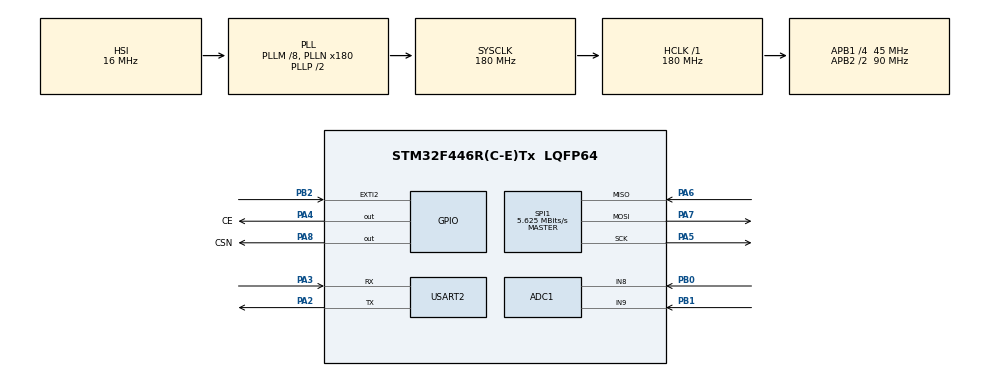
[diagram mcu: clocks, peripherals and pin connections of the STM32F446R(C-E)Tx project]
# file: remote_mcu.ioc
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ADC1.Channel-0\#ChannelRegularConversion=ADC_CHANNEL_8
ADC1.Channel-1\#ChannelRegularConversion=ADC_CHANNEL_9
ADC1.ContinuousConvMode=ENABLE
ADC1.DMAContinuousRequests=ENABLE
ADC1.NbrOfConversion=2
ADC1.NbrOfConversionFlag=1
ADC1.Rank-0\#ChannelRegularConversion=1
ADC1.Rank-1\#ChannelRegularConversion=2
ADC1.SamplingTime-0\#ChannelRegularConversion=ADC_SAMPLETIME_3CYCLES
ADC1.SamplingTime-1\#ChannelRegularConversion=ADC_SAMPLETIME_3CYCLES
ADC1.ScanConvMode=ENABLE
ADC1.master=1
Dma.ADC1.0.Direction=DMA_PERIPH_TO_MEMORY
Dma.ADC1.0.FIFOMode=DMA_FIFOMODE_DISABLE
Dma.ADC1.0.Instance=DMA2_Stream0
Dma.ADC1.0.MemDataAlignment=DMA_MDATAALIGN_WORD
Dma.ADC1.0.MemInc=DMA_MINC_ENABLE
Dma.ADC1.0.Mode=DMA_NORMAL
Dma.ADC1.0.PeriphDataAlignment=DMA_PDATAALIGN_WORD
Dma.ADC1.0.PeriphInc=DMA_PINC_DISABLE
Dma.ADC1.0.Priority=DMA_PRIORITY_LOW
Dma.Request0=ADC1
Mcu.Family=STM32F4
Mcu.Name=STM32F446R(C-E)Tx
Mcu.Package=LQFP64
NVIC.DMA2_Stream0_IRQn=true\:0\:0\:false\:false\:true\:false\:true\:true
NVIC.EXTI2_IRQn=true\:0\:0\:false\:false\:true\:true\:true\:true
NVIC.PriorityGroup=NVIC_PRIORITYGROUP_4
NVIC.SPI1_IRQn=true\:0\:0\:false\:false\:true\:true\:true\:true
PA13.Mode=Serial_Wire
PA13.Signal=SYS_JTMS-SWDIO
PA14.Mode=Serial_Wire
PA14.Signal=SYS_JTCK-SWCLK
PA2.Mode=Asynchronous
PA2.Signal=USART2_TX
PA3.Mode=Asynchronous
PA3.Signal=USART2_RX
PA4.GPIO_Label=CE
PA4.GPIO_Speed=GPIO_SPEED_FREQ_HIGH
PA4.Signal=GPIO_Output
PA5.Mode=Full_Duplex_Master
PA5.Signal=SPI1_SCK
PA6.Mode=Full_Duplex_Master
PA6.Signal=SPI1_MISO
PA7.Mode=Full_Duplex_Master
PA7.Signal=SPI1_MOSI
PA8.GPIO_Label=CSN
PA8.GPIO_Speed=GPIO_SPEED_FREQ_HIGH
PA8.Signal=GPIO_Output
PB0.Signal=ADCx_IN8
PB1.Signal=ADCx_IN9
PB2.GPIO_ModeDefaultEXTI=GPIO_MODE_IT_FALLING
PB2.Signal=GPXTI2
ProjectManager.HeapSize=0x200
ProjectManager.StackSize=0x400
ProjectManager.TargetToolchain=STM32CubeIDE
RCC.AHBFreq_Value=180000000
RCC.APB1CLKDivider=RCC_HCLK_DIV4
RCC.APB1Freq_Value=45000000
RCC.APB1TimFreq_Value=90000000
RCC.APB2CLKDivider=RCC_HCLK_DIV2
RCC.APB2Freq_Value=90000000
RCC.APB2TimFreq_Value=180000000
RCC.CortexFreq_Value=180000000
RCC.HCLKFreq_Value=180000000
RCC.PLLM=8
RCC.PLLN=180
RCC.SYSCLKFreq_VALUE=180000000
RCC.SYSCLKSource=RCC_SYSCLKSOURCE_PLLCLK
RCC.USBFreq_Value=180000000
RCC.VCOOutputFreq_Value=360000000
SH.ADCx_IN8.0=ADC1_IN8,IN8
SH.ADCx_IN9.0=ADC1_IN9,IN9
SPI1.BaudRatePrescaler=SPI_BAUDRATEPRESCALER_16
SPI1.CalculateBaudRate=5.625 MBits/s
SPI1.Direction=SPI_DIRECTION_2LINES
SPI1.Mode=SPI_MODE_MASTER
SPI1.VirtualType=VM_MASTER
USART2.VirtualMode=VM_ASYNC
board=custom

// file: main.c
/* USER CODE BEGIN Header */
/**
 ******************************************************************************
 * @file           : main.c
 * @brief          : Main program body
 ******************************************************************************
 * @attention
 *
 * Copyright (c) 2026 STMicroelectronics.
 * All rights reserved.
 *
 * This software is licensed under terms that can be found in the LICENSE file
 * in the root directory of this software component.
 * If no LICENSE file comes with this software, it is provided AS-IS.
 *
 ******************************************************************************
 */
/* USER CODE END Header */
#include "main.h"

/* USER CODE BEGIN Includes */
#include <stdio.h>
#include "string.h"
#include "NRF24L01.h"
/* USER CODE END Includes */

/* USER CODE BEGIN PD */
#define JOYSTICK_PORT GPIOB
#define JOYSTICK_PIN GPIO_PIN_2
/* USER CODE END PD */

ADC_HandleTypeDef hadc1;
DMA_HandleTypeDef hdma_adc1;

SPI_HandleTypeDef hspi1;

UART_HandleTypeDef huart2;

void SystemClock_Config(void);
static void MX_GPIO_Init(void);
static void MX_DMA_Init(void);
static void MX_SPI1_Init(void);
static void MX_ADC1_Init(void);
static void MX_USART2_UART_Init(void);

/* USER CODE BEGIN 0 */
volatile uint8_t AUTONOMOUS = 0;
typedef struct __attribute__((packed)) {
	uint8_t mode;
	uint16_t steering;
	uint16_t throttle;
	uint8_t reserved[27];
} ControlPacket;
uint32_t VR[2]; // array used to store VRx and VRy from 0 - 4095 (2^12)
uint8_t TxAddress[] = { 0xEE, 0xDD, 0xCC, 0xBB, 0xAA, };
/* USER CODE END 0 */

int main(void) {

	/* MCU Configuration--------------------------------------------------------*/

	/* Reset of all peripherals, Initializes the Flash interface and the Systick. */
	HAL_Init();

	/* Configure the system clock */
	SystemClock_Config();

	/* Initialize all configured peripherals */
	MX_GPIO_Init();
	MX_DMA_Init();
	MX_SPI1_Init();
	MX_ADC1_Init();
	MX_USART2_UART_Init();
	/* USER CODE BEGIN 2 */
	NRF24_Init();

	NRF24_TxMode(TxAddress, 10);
	ControlPacket packet;

	/* USER CODE END 2 */

	/* Infinite loop */
	while (1) {

		/* USER CODE BEGIN 3 */
		HAL_ADC_Start_DMA(&hadc1, VR, 2); // tells DMA to read from ADC1 IN8 and IN9 and store it in VR[0] and VR[1] (rank settings)

		if (AUTONOMOUS) {
			packet.mode = 1;
			packet.steering = 0;
			packet.throttle = 0;
		} else {
			packet.mode = 0;
			packet.steering = (uint16_t) VR[1];
			packet.throttle = (uint16_t) VR[0];
		}

		NRF24_Transmit((uint8_t*) &packet);

	}
	/* USER CODE END 3 */
}

void SystemClock_Config(void) {
	RCC_OscInitTypeDef RCC_OscInitStruct = { 0 };
	RCC_ClkInitTypeDef RCC_ClkInitStruct = { 0 };

	/** Configure the main internal regulator output voltage
	 */
	__HAL_RCC_PWR_CLK_ENABLE();
	__HAL_PWR_VOLTAGESCALING_CONFIG(PWR_REGULATOR_VOLTAGE_SCALE1);

	/** Initializes the RCC Oscillators according to the specified parameters
	 * in the RCC_OscInitTypeDef structure.
	 */
	RCC_OscInitStruct.OscillatorType = RCC_OSCILLATORTYPE_HSI;
	RCC_OscInitStruct.HSIState = RCC_HSI_ON;
	RCC_OscInitStruct.HSICalibrationValue = RCC_HSICALIBRATION_DEFAULT;
	RCC_OscInitStruct.PLL.PLLState = RCC_PLL_ON;
	RCC_OscInitStruct.PLL.PLLSource = RCC_PLLSOURCE_HSI;
	RCC_OscInitStruct.PLL.PLLM = 8;
	RCC_OscInitStruct.PLL.PLLN = 180;
	RCC_OscInitStruct.PLL.PLLP = RCC_PLLP_DIV2;
	RCC_OscInitStruct.PLL.PLLQ = 2;
	RCC_OscInitStruct.PLL.PLLR = 2;
	if (HAL_RCC_OscConfig(&RCC_OscInitStruct) != HAL_OK) {
		Error_Handler();
	}

	/** Activate the Over-Drive mode
	 */
	if (HAL_PWREx_EnableOverDrive() != HAL_OK) {
		Error_Handler();
	}

	/** Initializes the CPU, AHB and APB buses clocks
	 */
	RCC_ClkInitStruct.ClockType = RCC_CLOCKTYPE_HCLK | RCC_CLOCKTYPE_SYSCLK
			| RCC_CLOCKTYPE_PCLK1 | RCC_CLOCKTYPE_PCLK2;
	RCC_ClkInitStruct.SYSCLKSource = RCC_SYSCLKSOURCE_PLLCLK;
	RCC_ClkInitStruct.AHBCLKDivider = RCC_SYSCLK_DIV1;
	RCC_ClkInitStruct.APB1CLKDivider = RCC_HCLK_DIV4;
	RCC_ClkInitStruct.APB2CLKDivider = RCC_HCLK_DIV2;

	if (HAL_RCC_ClockConfig(&RCC_ClkInitStruct, FLASH_LATENCY_5) != HAL_OK) {
		Error_Handler();
	}
}

static void MX_ADC1_Init(void) {

	ADC_ChannelConfTypeDef sConfig = { 0 };

	/** Configure the global features of the ADC (Clock, Resolution, Data Alignment and number of conversion)
	 */
	hadc1.Instance = ADC1;
	hadc1.Init.ClockPrescaler = ADC_CLOCK_SYNC_PCLK_DIV4;
	hadc1.Init.Resolution = ADC_RESOLUTION_12B;
	hadc1.Init.ScanConvMode = ENABLE;
	hadc1.Init.ContinuousConvMode = ENABLE;
	hadc1.Init.DiscontinuousConvMode = DISABLE;
	hadc1.Init.ExternalTrigConvEdge = ADC_EXTERNALTRIGCONVEDGE_NONE;
	hadc1.Init.ExternalTrigConv = ADC_SOFTWARE_START;
	hadc1.Init.DataAlign = ADC_DATAALIGN_RIGHT;
	hadc1.Init.NbrOfConversion = 2;
	hadc1.Init.DMAContinuousRequests = ENABLE;
	hadc1.Init.EOCSelection = ADC_EOC_SINGLE_CONV;
	if (HAL_ADC_Init(&hadc1) != HAL_OK) {
		Error_Handler();
	}

	/** Configure for the selected ADC regular channel its corresponding rank in the sequencer and its sample time.
	 */
	sConfig.Channel = ADC_CHANNEL_8;
	sConfig.Rank = 1;
	sConfig.SamplingTime = ADC_SAMPLETIME_3CYCLES;
	if (HAL_ADC_ConfigChannel(&hadc1, &sConfig) != HAL_OK) {
		Error_Handler();
	}

	/** Configure for the selected ADC regular channel its corresponding rank in the sequencer and its sample time.
	 */
	sConfig.Channel = ADC_CHANNEL_9;
	sConfig.Rank = 2;
	if (HAL_ADC_ConfigChannel(&hadc1, &sConfig) != HAL_OK) {
		Error_Handler();
	}

}

static void MX_SPI1_Init(void) {

	/* SPI1 parameter configuration*/
	hspi1.Instance = SPI1;
	hspi1.Init.Mode = SPI_MODE_MASTER;
	hspi1.Init.Direction = SPI_DIRECTION_2LINES;
	hspi1.Init.DataSize = SPI_DATASIZE_8BIT;
	hspi1.Init.CLKPolarity = SPI_POLARITY_LOW;
	hspi1.Init.CLKPhase = SPI_PHASE_1EDGE;
	hspi1.Init.NSS = SPI_NSS_SOFT;
	hspi1.Init.BaudRatePrescaler = SPI_BAUDRATEPRESCALER_16;
	hspi1.Init.FirstBit = SPI_FIRSTBIT_MSB;
	hspi1.Init.TIMode = SPI_TIMODE_DISABLE;
	hspi1.Init.CRCCalculation = SPI_CRCCALCULATION_DISABLE;
	hspi1.Init.CRCPolynomial = 10;
	if (HAL_SPI_Init(&hspi1) != HAL_OK) {
		Error_Handler();
	}

}

static void MX_USART2_UART_Init(void) {

	huart2.Instance = USART2;
	huart2.Init.BaudRate = 115200;
	huart2.Init.WordLength = UART_WORDLENGTH_8B;
	huart2.Init.StopBits = UART_STOPBITS_1;
	huart2.Init.Parity = UART_PARITY_NONE;
	huart2.Init.Mode = UART_MODE_TX_RX;
	huart2.Init.HwFlowCtl = UART_HWCONTROL_NONE;
	huart2.Init.OverSampling = UART_OVERSAMPLING_16;
	if (HAL_UART_Init(&huart2) != HAL_OK) {
		Error_Handler();
	}

}

static void MX_DMA_Init(void) {

	/* DMA controller clock enable */
	__HAL_RCC_DMA2_CLK_ENABLE();

	/* DMA interrupt init */
	/* DMA2_Stream0_IRQn interrupt configuration */
	HAL_NVIC_SetPriority(DMA2_Stream0_IRQn, 0, 0);
	HAL_NVIC_EnableIRQ(DMA2_Stream0_IRQn);

}

static void MX_GPIO_Init(void) {
	GPIO_InitTypeDef GPIO_InitStruct = { 0 };

	/* GPIO Ports Clock Enable */
	__HAL_RCC_GPIOA_CLK_ENABLE();
	__HAL_RCC_GPIOB_CLK_ENABLE();

	/*Configure GPIO pin Output Level */
	HAL_GPIO_WritePin(GPIOA, CE_Pin | CSN_Pin, GPIO_PIN_RESET);

	/*Configure GPIO pins : CE_Pin CSN_Pin */
	GPIO_InitStruct.Pin = CE_Pin | CSN_Pin;
	GPIO_InitStruct.Mode = GPIO_MODE_OUTPUT_PP;
	GPIO_InitStruct.Pull = GPIO_NOPULL;
	GPIO_InitStruct.Speed = GPIO_SPEED_FREQ_HIGH;
	HAL_GPIO_Init(GPIOA, &GPIO_InitStruct);

	/*Configure GPIO pin : PB2 */
	GPIO_InitStruct.Pin = GPIO_PIN_2;
	GPIO_InitStruct.Mode = GPIO_MODE_IT_FALLING;
	GPIO_InitStruct.Pull = GPIO_NOPULL;
	HAL_GPIO_Init(GPIOB, &GPIO_InitStruct);

	/* EXTI interrupt init*/
	HAL_NVIC_SetPriority(EXTI2_IRQn, 0, 0);
	HAL_NVIC_EnableIRQ(EXTI2_IRQn);

}

/* USER CODE BEGIN 4 */
void HAL_GPIO_EXTI_Callback(uint16_t GPIO_Pin) {
	static uint32_t last_tick = 0;
	uint32_t now = HAL_GetTick();

	if (GPIO_Pin == GPIO_PIN_2 && (now - last_tick) > 200) { // debounce safety
		last_tick = now;
		AUTONOMOUS = AUTONOMOUS ^ 1;
	}
}
/* USER CODE END 4 */

void Error_Handler(void) {
	__disable_irq();
	while (1) {
	}
}
